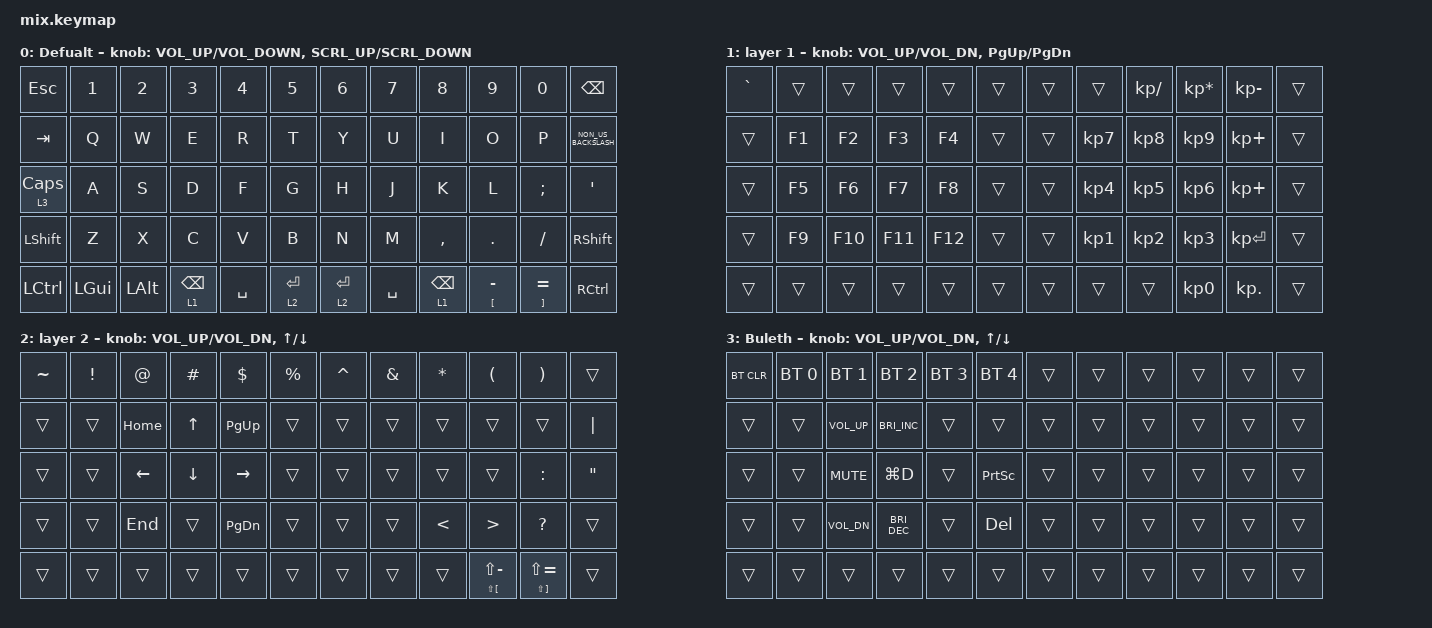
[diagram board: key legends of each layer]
/*
 * Copyright (c) 2020 The ZMK Contributors
 *
 * SPDX-License-Identifier: MIT
 */

#include <behaviors.dtsi>
#include <dt-bindings/zmk/bt.h>
#include <dt-bindings/zmk/keys.h>
#include <dt-bindings/zmk/pointing.h>

#define ZMK_POINTING_DEFAULT_SCRL_VAL 40

/ {
    combos {
        compatible = "zmk,combos";

        boot {
            bindings = <&bootloader>;
            key-positions = <0 11 54 53>;
        };
    };

    behaviors {
        encoder_sc: encoder_sc {
            compatible = "zmk,behavior-sensor-rotate-var";
            label = "ENCODER_SC";
            #sensor-binding-cells = <2>;
            bindings = <&msc>, <&msc>;

            tap-ms = <40>;
        };
    };

    keymap {
        compatible = "zmk,keymap";

        LAYER0 {
            display-name = "Defualt";
            bindings = <
&kp ESCAPE      &kp N1        &kp N2        &kp N3           &kp NUMBER_4  &kp N5       &kp NUMBER_6  &kp N7     &kp N8           &kp N9                  &kp N0                   &kp BSPC
&kp TAB         &kp Q         &kp W         &kp E            &kp R         &kp T        &kp Y         &kp U      &kp I            &kp O                   &kp P                    &kp NON_US_BACKSLASH
&lt 3 CAPSLOCK  &kp A         &kp S         &kp D            &kp F         &kp G        &kp H         &kp J      &kp K            &kp L                   &kp SEMICOLON            &kp SQT
&kp LSHFT       &kp Z         &kp X         &kp C            &kp V         &kp B        &kp N         &kp M      &kp COMMA        &kp DOT                 &kp FSLH                 &kp RSHFT
&kp LCTRL       &kp LEFT_GUI  &kp LEFT_ALT  &lt 1 BACKSPACE  &kp SPACE     &lt 2 ENTER  &lt 2 ENTER   &kp SPACE  &lt 1 BACKSPACE  &mt LEFT_BRACKET MINUS  &mt RIGHT_BRACKET EQUAL  &kp RCTRL
            >;

            sensor-bindings =
                <&inc_dec_kp C_VOLUME_UP C_VOLUME_DOWN>,
                <&encoder_sc SCRL_UP SCRL_DOWN>;

            label = "L0";
        };

        LAYER1 {
            display-name = "layer 1";
            bindings = <
&kp GRAVE  &trans  &trans   &trans   &trans   &trans  &trans  &trans           &kp KP_DIVIDE    &kp KP_MULTIPLY  &kp KP_SUBTRACT  &trans
&trans     &kp F1  &kp F2   &kp F3   &kp F4   &trans  &trans  &kp KP_NUMBER_7  &kp KP_NUMBER_8  &kp KP_NUMBER_9  &kp KP_PLUS      &trans
&trans     &kp F5  &kp F6   &kp F7   &kp F8   &trans  &trans  &kp KP_NUMBER_4  &kp KP_NUMBER_5  &kp KP_NUMBER_6  &kp KP_PLUS      &trans
&trans     &kp F9  &kp F10  &kp F11  &kp F12  &trans  &trans  &kp KP_NUMBER_1  &kp KP_NUMBER_2  &kp KP_NUMBER_3  &kp KP_ENTER     &trans
&trans     &trans  &trans   &trans   &trans   &trans  &trans  &trans           &trans           &kp KP_NUMBER_0  &kp KP_DOT       &trans
            >;

            sensor-bindings = <&inc_dec_kp C_VOL_UP C_VOL_DN &inc_dec_kp PG_UP PG_DN>;
            label = "L1";
        };

        LAYER2 {
            display-name = "layer 2";
            bindings = <
&kp TILDE  &kp EXCLAMATION  &kp AT_SIGN     &kp HASH        &kp DOLLAR       &kp PERCENT  &kp CARET  &kp AMPERSAND  &kp ASTERISK   &kp LEFT_PARENTHESIS            &kp RIGHT_PARENTHESIS            &trans
&trans     &trans           &kp HOME        &kp UP_ARROW    &kp PAGE_UP      &trans       &trans     &trans         &trans         &trans                          &trans                           &kp PIPE
&trans     &trans           &kp LEFT_ARROW  &kp DOWN_ARROW  &kp RIGHT_ARROW  &trans       &trans     &trans         &trans         &trans                          &kp COLON                        &kp DOUBLE_QUOTES
&trans     &trans           &kp END         &trans          &kp PAGE_DOWN    &trans       &trans     &trans         &kp LESS_THAN  &kp GREATER_THAN                &kp QUESTION                     &trans
&trans     &trans           &trans          &trans          &trans           &trans       &trans     &trans         &trans         &mt LS(LEFT_BRACKET) LS(MINUS)  &mt LS(RIGHT_BRACKET) LS(EQUAL)  &trans
            >;

            sensor-bindings =
                <&inc_dec_kp C_VOL_UP C_VOL_DN>,
                <&inc_dec_kp UP_ARROW DOWN>;

            label = "L2";
        };

        LAYER3 {
            display-name = "Buleth";
            bindings = <
&bt BT_CLR  &bt BT_SEL 0  &bt BT_SEL 1     &bt BT_SEL 2          &bt BT_SEL 3  &bt BT_SEL 4     &trans  &trans  &trans  &trans  &trans  &trans
&trans      &trans        &kp C_VOLUME_UP  &kp C_BRIGHTNESS_INC  &trans        &trans           &trans  &trans  &trans  &trans  &trans  &trans
&trans      &trans        &kp C_MUTE       &kp LG(D)             &trans        &kp PRINTSCREEN  &trans  &trans  &trans  &trans  &trans  &trans
&trans      &trans        &kp C_VOL_DN     &kp C_BRIGHTNESS_DEC  &trans        &kp DELETE       &trans  &trans  &trans  &trans  &trans  &trans
&trans      &trans        &trans           &trans                &trans        &trans           &trans  &trans  &trans  &trans  &trans  &trans
            >;

            sensor-bindings =
                <&inc_dec_kp C_VOL_UP C_VOL_DN>,
                <&inc_dec_kp UP_ARROW DOWN_ARROW>;

            label = "L3";
        };
    };
};
